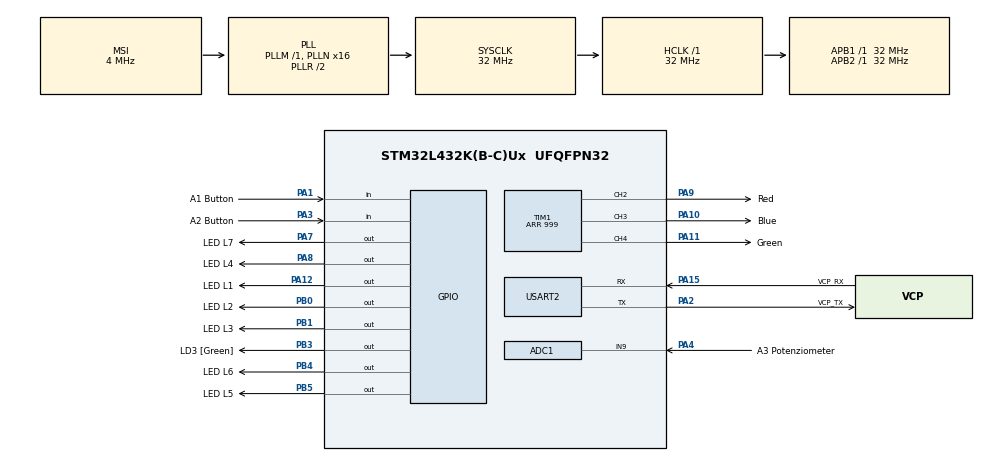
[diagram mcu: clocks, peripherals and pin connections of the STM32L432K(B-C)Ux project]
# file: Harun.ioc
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ADC1.Channel-1\#ChannelRegularConversion=ADC_CHANNEL_9
ADC1.NbrOfConversionFlag=1
ADC1.OffsetNumber-1\#ChannelRegularConversion=ADC_OFFSET_NONE
ADC1.Rank-1\#ChannelRegularConversion=1
ADC1.SamplingTime-1\#ChannelRegularConversion=ADC_SAMPLETIME_2CYCLES_5
ADC1.master=1
Mcu.Family=STM32L4
Mcu.Name=STM32L432K(B-C)Ux
Mcu.Package=UFQFPN32
NVIC.PriorityGroup=NVIC_PRIORITYGROUP_4
PA0.GPIO_Label=MCO [High speed clock in]
PA0.Mode=HSE-External-Clock-Source-for-LittleOrca
PA0.Signal=RCC_CK_IN
PA1.GPIO_Label=A1 Button
PA1.GPIO_PuPd=GPIO_NOPULL
PA1.Signal=GPIO_Input
PA10.GPIO_Label=Blue
PA10.Signal=S_TIM1_CH3
PA11.GPIO_Label=Green
PA11.Signal=S_TIM1_CH4
PA12.GPIO_Label=LED L1
PA12.PinState=GPIO_PIN_RESET
PA12.Signal=GPIO_Output
PA13\ (JTMS-SWDIO).GPIO_Label=SWDIO
PA13\ (JTMS-SWDIO).Mode=Serial_Wire
PA13\ (JTMS-SWDIO).Signal=SYS_JTMS-SWDIO
PA14\ (JTCK-SWCLK).GPIO_Label=SWCLK
PA14\ (JTCK-SWCLK).Mode=Serial_Wire
PA14\ (JTCK-SWCLK).Signal=SYS_JTCK-SWCLK
PA15\ (JTDI).GPIO_Label=VCP_RX
PA15\ (JTDI).Mode=Asynchronous
PA15\ (JTDI).Signal=USART2_RX
PA2.GPIO_Label=VCP_TX
PA2.Mode=Asynchronous
PA2.Signal=USART2_TX
PA3.GPIO_Label=A2 Button
PA3.Signal=GPIO_Input
PA4.GPIO_Label=A3 Potenziometer
PA4.Signal=ADCx_IN9
PA7.GPIO_Label=LED L7
PA7.PinState=GPIO_PIN_RESET
PA7.Signal=GPIO_Output
PA8.GPIO_Label=LED L4
PA8.Signal=GPIO_Output
PA9.GPIO_Label=Red
PA9.Signal=S_TIM1_CH2
PB0.GPIO_Label=LED L2
PB0.Signal=GPIO_Output
PB1.GPIO_Label=LED L3
PB1.PinState=GPIO_PIN_RESET
PB1.Signal=GPIO_Output
PB3\ (JTDO-TRACESWO).GPIO_Label=LD3 [Green]
PB3\ (JTDO-TRACESWO).PinState=GPIO_PIN_RESET
PB3\ (JTDO-TRACESWO).Signal=GPIO_Output
PB4\ (NJTRST).GPIO_Label=LED L6
PB4\ (NJTRST).Signal=GPIO_Output
PB5.GPIO_Label=LED L5
PB5.PinState=GPIO_PIN_RESET
PB5.Signal=GPIO_Output
PC14-OSC32_IN\ (PC14).Mode=LSE-External-Oscillator
PC14-OSC32_IN\ (PC14).Signal=RCC_OSC32_IN
PC15-OSC32_OUT\ (PC15).Mode=LSE-External-Oscillator
PC15-OSC32_OUT\ (PC15).Signal=RCC_OSC32_OUT
ProjectManager.HeapSize=0x200
ProjectManager.StackSize=0x400
ProjectManager.TargetToolchain=STM32CubeIDE
RCC.ADCFreq_Value=32000000
RCC.AHBFreq_Value=32000000
RCC.APB1Freq_Value=32000000
RCC.APB1TimFreq_Value=32000000
RCC.APB2Freq_Value=32000000
RCC.APB2TimFreq_Value=32000000
RCC.CortexFreq_Value=32000000
RCC.HCLKFreq_Value=32000000
RCC.HSE_VALUE=8000000
RCC.HSI16_VALUE=16000000
RCC.HSI48_VALUE=48000000
RCC.HSI_VALUE=16000000
RCC.MSI_VALUE=4000000
RCC.PLLMUL=RCC_PLLMUL_4
RCC.PLLN=16
RCC.PLLSAI1N=16
RCC.SYSCLKFreq_VALUE=32000000
RCC.SYSCLKSource=RCC_SYSCLKSOURCE_PLLCLK
RCC.USBFreq_Value=32000000
RCC.VCOOutputFreq_Value=64000000
SH.ADCx_IN9.0=ADC1_IN9,IN9-Single-Ended
SH.S_TIM1_CH2.0=TIM1_CH2,PWM Generation2 CH2
SH.S_TIM1_CH3.0=TIM1_CH3,PWM Generation3 CH3
SH.S_TIM1_CH4.0=TIM1_CH4,PWM Generation4 CH4
TIM1.Channel-PWM\ Generation2\ CH2=TIM_CHANNEL_2
TIM1.Channel-PWM\ Generation3\ CH3=TIM_CHANNEL_3
TIM1.Channel-PWM\ Generation4\ CH4=TIM_CHANNEL_4
TIM1.Period=999
USART2.VirtualMode-Asynchronous=VM_ASYNC
VP_TIM1_VS_ClockSourceINT.Mode=Internal
board=NUCLEO-L432KC

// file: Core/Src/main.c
/* USER CODE BEGIN Header */
/**
 ******************************************************************************
 * @file           : main.c
 * @brief          : Main program body
 ******************************************************************************
 * @attention
 *
 * Copyright (c) 2026 STMicroelectronics.
 * All rights reserved.
 *
 * This software is licensed under terms that can be found in the LICENSE file
 * in the root directory of this software component.
 * If no LICENSE file comes with this software, it is provided AS-IS.
 *
 ******************************************************************************
 */
/* USER CODE END Header */
#include "main.h"

/* USER CODE BEGIN Includes */

#include <stdio.h>
#include <stdarg.h>
#include <string.h>

/* USER CODE END Includes */

/* USER CODE BEGIN PD */

#define SET GPIO_PIN_SET
#define RESET GPIO_PIN_RESET
#define HAL_MAX_TIMEOUT 1000
#define true 1
#define false 0

/* USER CODE END PD */

ADC_HandleTypeDef hadc1;

TIM_HandleTypeDef htim1;

UART_HandleTypeDef huart2;

/* USER CODE BEGIN PV */

struct button
{
	int state;
	uint32_t change_timestamp;
	GPIO_TypeDef *port;
	uint16_t pin;
};

/* USER CODE END PV */

void SystemClock_Config(void);
static void MX_GPIO_Init(void);
static void MX_USART2_UART_Init(void);
static void MX_TIM1_Init(void);
static void MX_ADC1_Init(void);

/* USER CODE BEGIN 0 */

// Helpers
int print(const char *fmt, ...)
{
	char buffer[256];

	va_list args;
	va_start(args, fmt);
	int len = vsnprintf(buffer, sizeof(buffer), fmt, args);
	va_end(args);

	if (len < 0)
	{
		return len;
	}

	if (len > sizeof(buffer))
	{
		len = sizeof(buffer);
	}

	HAL_UART_Transmit(&huart2, (uint8_t *)buffer, len, HAL_MAX_DELAY);
	return len;
}

int bigger(int a, int b)
{
	return a > b ? a : b;
}

int smaller(int a, int b)
{
	return a < b ? a : b;
}

// LED Edits
void toggle_left_LEDs(int even)
{
	HAL_GPIO_WritePin(LED_L1_GPIO_Port, LED_L1_Pin, even ? SET : RESET);
	HAL_GPIO_WritePin(LED_L2_GPIO_Port, LED_L2_Pin, !even ? SET : RESET);
	HAL_GPIO_WritePin(LED_L3_GPIO_Port, LED_L3_Pin, even ? SET : RESET);
	HAL_GPIO_WritePin(LED_L4_GPIO_Port, LED_L4_Pin, !even ? SET : RESET);
	HAL_GPIO_WritePin(LED_L5_GPIO_Port, LED_L5_Pin, even ? SET : RESET);
	HAL_GPIO_WritePin(LED_L6_GPIO_Port, LED_L6_Pin, !even ? SET : RESET);
	HAL_GPIO_WritePin(LED_L7_GPIO_Port, LED_L7_Pin, even ? SET : RESET);
	HAL_GPIO_WritePin(LD3_GPIO_Port, LD3_Pin, !even ? SET : RESET);
}

void toggle_main_LED(int red, int green, int blue) // Percentages
{
	if (!red)
		HAL_TIM_PWM_Stop(&htim1, TIM_CHANNEL_2);
	else
		HAL_TIM_PWM_Start(&htim1, TIM_CHANNEL_2);

	if (!green)
		HAL_TIM_PWM_Stop(&htim1, TIM_CHANNEL_4);
	else
		HAL_TIM_PWM_Start(&htim1, TIM_CHANNEL_4);

	if (!blue)
		HAL_TIM_PWM_Stop(&htim1, TIM_CHANNEL_3);
	else
		HAL_TIM_PWM_Start(&htim1, TIM_CHANNEL_3);

	int period = 999;
	int one = (period / 100);
	int r = period - one * red;
	int g = period - one * green;
	int b = period - one * blue;

	__HAL_TIM_SET_COMPARE(&htim1, TIM_CHANNEL_2, r);
	__HAL_TIM_SET_COMPARE(&htim1, TIM_CHANNEL_4, g);
	__HAL_TIM_SET_COMPARE(&htim1, TIM_CHANNEL_3, b);
}

void debug_left_LEDs(int on)
{
	HAL_GPIO_WritePin(LED_L1_GPIO_Port, LED_L1_Pin, on ? SET : RESET);
	HAL_GPIO_WritePin(LED_L2_GPIO_Port, LED_L2_Pin, on ? SET : RESET);
	HAL_GPIO_WritePin(LED_L3_GPIO_Port, LED_L3_Pin, on ? SET : RESET);
	HAL_GPIO_WritePin(LED_L4_GPIO_Port, LED_L4_Pin, on ? SET : RESET);
	HAL_GPIO_WritePin(LED_L5_GPIO_Port, LED_L5_Pin, on ? SET : RESET);
	HAL_GPIO_WritePin(LED_L6_GPIO_Port, LED_L6_Pin, on ? SET : RESET);
	HAL_GPIO_WritePin(LED_L7_GPIO_Port, LED_L7_Pin, on ? SET : RESET);
	HAL_GPIO_WritePin(LD3_GPIO_Port, LD3_Pin, on ? SET : RESET);
}

// Button helpers
struct button addButton(
	GPIO_TypeDef *port,
	uint16_t pin)
{
	struct button btn;

	btn.state = 0;
	btn.change_timestamp = HAL_GetTick();
	btn.port = port;
	btn.pin = pin;

	return btn;
}

/**
 * Easier since intellisense gets this
 *
 * @returns
 * 	0 -> no click |
 * 	1 -> down |
 *  2 -> up |
 *  3 -> double click |
 */
int button_click_check(struct button *btn)
{ // 0 -> no click, 1 -> down; 2 -> up; 3 -> double click
	int state = !!(HAL_GPIO_ReadPin(btn->port, btn->pin) == RESET);
	if (state == btn->state)
		return 0;

	uint32_t current = HAL_GetTick();
	uint32_t difference = current - btn->change_timestamp;

	btn->state = state;
	btn->change_timestamp = HAL_GetTick();

	if (state == 1)
	{
		if (difference < 150)
			return 3;
		else
			return 1;
	}
	else
		return 2;
}

void default_disco_lights(int disco_lights_hard[][3], int *disco_lights_length)
{
	*disco_lights_length = 7;
	int dpl = 20; // Disco light percentage

	int t[][3] = {
		{0, 0, dpl},
		{0, dpl, 0},
		{0, dpl, dpl},
		{dpl, 0, 0},
		{dpl, 0, dpl},
		{dpl, dpl, 0},
		{dpl, dpl, dpl},
	};

	for (int i = 0; i < *disco_lights_length; i++)
	{
		for (int j = 0; j < 3; j++)
		{
			disco_lights_hard[i][j] = t[i][j];
		}
	}
}

void transition_disco_lights(int disco_lights_hard[][3], int *disco_lights_length, int speed)
{
	int index = 0;

	int max_w = 100 / speed;

	// Red -> Green
	for (int i = 0; i < max_w; i++)
	{
		disco_lights_hard[index][0] = max_w - i; // R
		disco_lights_hard[index][1] = i;		 // G
		disco_lights_hard[index][2] = 0;		 // B
		index++;
	}

	// Green -> Blue
	for (int i = 0; i < max_w; i++)
	{
		disco_lights_hard[index][0] = 0;		 // R
		disco_lights_hard[index][1] = max_w - i; // G
		disco_lights_hard[index][2] = i;		 // B
		index++;
	}

	// Blue -> Red
	for (int i = 0; i < max_w; i++)
	{
		disco_lights_hard[index][0] = i;		 // R
		disco_lights_hard[index][1] = 0;		 // G
		disco_lights_hard[index][2] = max_w - i; // B
		index++;
	}

	*disco_lights_length = index;
}

/* USER CODE END 0 */

int main(void)
{

	/* MCU Configuration--------------------------------------------------------*/

	/* Reset of all peripherals, Initializes the Flash interface and the Systick. */
	HAL_Init();

	/* Configure the system clock */
	SystemClock_Config();

	/* Initialize all configured peripherals */
	MX_GPIO_Init();
	MX_USART2_UART_Init();
	MX_TIM1_Init();
	MX_ADC1_Init();
	/* USER CODE BEGIN 2 */

	// Setters
	HAL_ADCEx_Calibration_Start(&hadc1, ADC_SINGLE_ENDED);
	const int disco_timeout = 100;
	int disco_speed = 1;
	int disco_lights_hard[256 * 3][3];
	int disco_lights_length = 0;
	default_disco_lights(disco_lights_hard, &disco_lights_length);
	uint32_t timestamp = HAL_GetTick();

	// Buttons
	struct button a1 = addButton(
		A1_Button_GPIO_Port,
		A1_Button_Pin);
	struct button a2 = addButton(
		A2_Button_GPIO_Port,
		A2_Button_Pin);

	// Disco
	int disco_rgb_mode = 0; // Count
	int disco_even = false;
	int on = true;
	int smooth_speed = 1;
	const int max_smooth_speed = 100;
	int smooth = false;

	/* USER CODE END 2 */

	/* Infinite loop */
	/* USER CODE BEGIN WHILE */
	while (1)
	{
		uint32_t current = HAL_GetTick();

		if ((current - timestamp) > (disco_timeout * disco_speed) && on)
		{
			timestamp = current;
			if (!smooth)
				toggle_left_LEDs(disco_even);
			else
				transition_disco_lights(disco_lights_hard, &disco_lights_length, smooth_speed);

			toggle_main_LED(
				disco_lights_hard[disco_rgb_mode][0],
				disco_lights_hard[disco_rgb_mode][1],
				disco_lights_hard[disco_rgb_mode][2]);
			disco_rgb_mode = (disco_rgb_mode + 1) % disco_lights_length;
			disco_even = !disco_even;
		}

		// ON / OFF
		int a1_clicked = button_click_check(&a1);
		if (a1_clicked == 1) // Off/On Disco mode
		{
			on = !on;
			debug_left_LEDs(0);
			toggle_main_LED(0, 0, 0);
			disco_speed = 1;
			if (on)
			{
				smooth = false;
				default_disco_lights(disco_lights_hard, &disco_lights_length);
			}
		}

		// Speed and Smooth color transition
		int a2_clicked = button_click_check(&a2);
		if (a2_clicked == 1)
		{
			default_disco_lights(disco_lights_hard, &disco_lights_length);
			smooth = false;
			on = true;
			disco_speed = (disco_speed % 4) + 1;
		}
		if (a2_clicked == 3)
		{
			debug_left_LEDs(0);
			smooth = true;
			disco_speed = 1;
		}

		// Speed for color transition
		if (smooth)
		{
			HAL_ADC_Start(&hadc1);
			if (HAL_ADC_PollForConversion(&hadc1, HAL_MAX_TIMEOUT) == HAL_OK)
			{
				uint32_t pot_value = HAL_ADC_GetValue(&hadc1);

				int percentage = (pot_value / 4095.0) * 100;
				smooth_speed = bigger(max_smooth_speed / 100 * percentage, 1);
			}
			HAL_ADC_Stop(&hadc1);
		}

		/* USER CODE END WHILE */

	}
}

void SystemClock_Config(void)
{
	RCC_OscInitTypeDef RCC_OscInitStruct = {0};
	RCC_ClkInitTypeDef RCC_ClkInitStruct = {0};

	/** Configure the main internal regulator output voltage
	 */
	if (HAL_PWREx_ControlVoltageScaling(PWR_REGULATOR_VOLTAGE_SCALE1) != HAL_OK)
	{
		Error_Handler();
	}

	/** Configure LSE Drive Capability
	 */
	HAL_PWR_EnableBkUpAccess();
	__HAL_RCC_LSEDRIVE_CONFIG(RCC_LSEDRIVE_LOW);

	/** Initializes the RCC Oscillators according to the specified parameters
	 * in the RCC_OscInitTypeDef structure.
	 */
	RCC_OscInitStruct.OscillatorType = RCC_OSCILLATORTYPE_LSE | RCC_OSCILLATORTYPE_MSI;
	RCC_OscInitStruct.LSEState = RCC_LSE_ON;
	RCC_OscInitStruct.MSIState = RCC_MSI_ON;
	RCC_OscInitStruct.MSICalibrationValue = 0;
	RCC_OscInitStruct.MSIClockRange = RCC_MSIRANGE_6;
	RCC_OscInitStruct.PLL.PLLState = RCC_PLL_ON;
	RCC_OscInitStruct.PLL.PLLSource = RCC_PLLSOURCE_MSI;
	RCC_OscInitStruct.PLL.PLLM = 1;
	RCC_OscInitStruct.PLL.PLLN = 16;
	RCC_OscInitStruct.PLL.PLLP = RCC_PLLP_DIV7;
	RCC_OscInitStruct.PLL.PLLQ = RCC_PLLQ_DIV2;
	RCC_OscInitStruct.PLL.PLLR = RCC_PLLR_DIV2;
	if (HAL_RCC_OscConfig(&RCC_OscInitStruct) != HAL_OK)
	{
		Error_Handler();
	}

	/** Initializes the CPU, AHB and APB buses clocks
	 */
	RCC_ClkInitStruct.ClockType = RCC_CLOCKTYPE_HCLK | RCC_CLOCKTYPE_SYSCLK | RCC_CLOCKTYPE_PCLK1 | RCC_CLOCKTYPE_PCLK2;
	RCC_ClkInitStruct.SYSCLKSource = RCC_SYSCLKSOURCE_PLLCLK;
	RCC_ClkInitStruct.AHBCLKDivider = RCC_SYSCLK_DIV1;
	RCC_ClkInitStruct.APB1CLKDivider = RCC_HCLK_DIV1;
	RCC_ClkInitStruct.APB2CLKDivider = RCC_HCLK_DIV1;

	if (HAL_RCC_ClockConfig(&RCC_ClkInitStruct, FLASH_LATENCY_1) != HAL_OK)
	{
		Error_Handler();
	}

	/** Enable MSI Auto calibration
	 */
	HAL_RCCEx_EnableMSIPLLMode();
}

static void MX_ADC1_Init(void)
{

	ADC_ChannelConfTypeDef sConfig = {0};

	/** Common config
	 */
	hadc1.Instance = ADC1;
	hadc1.Init.ClockPrescaler = ADC_CLOCK_ASYNC_DIV1;
	hadc1.Init.Resolution = ADC_RESOLUTION_12B;
	hadc1.Init.DataAlign = ADC_DATAALIGN_RIGHT;
	hadc1.Init.ScanConvMode = ADC_SCAN_DISABLE;
	hadc1.Init.EOCSelection = ADC_EOC_SINGLE_CONV;
	hadc1.Init.LowPowerAutoWait = DISABLE;
	hadc1.Init.ContinuousConvMode = DISABLE;
	hadc1.Init.NbrOfConversion = 1;
	hadc1.Init.DiscontinuousConvMode = DISABLE;
	hadc1.Init.ExternalTrigConv = ADC_SOFTWARE_START;
	hadc1.Init.ExternalTrigConvEdge = ADC_EXTERNALTRIGCONVEDGE_NONE;
	hadc1.Init.DMAContinuousRequests = DISABLE;
	hadc1.Init.Overrun = ADC_OVR_DATA_PRESERVED;
	hadc1.Init.OversamplingMode = DISABLE;
	if (HAL_ADC_Init(&hadc1) != HAL_OK)
	{
		Error_Handler();
	}

	/** Configure Regular Channel
	 */
	sConfig.Channel = ADC_CHANNEL_9;
	sConfig.Rank = ADC_REGULAR_RANK_1;
	sConfig.SamplingTime = ADC_SAMPLETIME_2CYCLES_5;
	sConfig.SingleDiff = ADC_SINGLE_ENDED;
	sConfig.OffsetNumber = ADC_OFFSET_NONE;
	sConfig.Offset = 0;
	if (HAL_ADC_ConfigChannel(&hadc1, &sConfig) != HAL_OK)
	{
		Error_Handler();
	}
}

static void MX_TIM1_Init(void)
{

	TIM_ClockConfigTypeDef sClockSourceConfig = {0};
	TIM_MasterConfigTypeDef sMasterConfig = {0};
	TIM_OC_InitTypeDef sConfigOC = {0};
	TIM_BreakDeadTimeConfigTypeDef sBreakDeadTimeConfig = {0};

	htim1.Instance = TIM1;
	htim1.Init.Prescaler = 0;
	htim1.Init.CounterMode = TIM_COUNTERMODE_UP;
	htim1.Init.Period = 999;
	htim1.Init.ClockDivision = TIM_CLOCKDIVISION_DIV1;
	htim1.Init.RepetitionCounter = 0;
	htim1.Init.AutoReloadPreload = TIM_AUTORELOAD_PRELOAD_DISABLE;
	if (HAL_TIM_Base_Init(&htim1) != HAL_OK)
	{
		Error_Handler();
	}
	sClockSourceConfig.ClockSource = TIM_CLOCKSOURCE_INTERNAL;
	if (HAL_TIM_ConfigClockSource(&htim1, &sClockSourceConfig) != HAL_OK)
	{
		Error_Handler();
	}
	if (HAL_TIM_PWM_Init(&htim1) != HAL_OK)
	{
		Error_Handler();
	}
	sMasterConfig.MasterOutputTrigger = TIM_TRGO_RESET;
	sMasterConfig.MasterOutputTrigger2 = TIM_TRGO2_RESET;
	sMasterConfig.MasterSlaveMode = TIM_MASTERSLAVEMODE_DISABLE;
	if (HAL_TIMEx_MasterConfigSynchronization(&htim1, &sMasterConfig) != HAL_OK)
	{
		Error_Handler();
	}
	sConfigOC.OCMode = TIM_OCMODE_PWM1;
	sConfigOC.Pulse = 0;
	sConfigOC.OCPolarity = TIM_OCPOLARITY_HIGH;
	sConfigOC.OCNPolarity = TIM_OCNPOLARITY_HIGH;
	sConfigOC.OCFastMode = TIM_OCFAST_DISABLE;
	sConfigOC.OCIdleState = TIM_OCIDLESTATE_RESET;
	sConfigOC.OCNIdleState = TIM_OCNIDLESTATE_RESET;
	if (HAL_TIM_PWM_ConfigChannel(&htim1, &sConfigOC, TIM_CHANNEL_2) != HAL_OK)
	{
		Error_Handler();
	}
	if (HAL_TIM_PWM_ConfigChannel(&htim1, &sConfigOC, TIM_CHANNEL_3) != HAL_OK)
	{
		Error_Handler();
	}
	if (HAL_TIM_PWM_ConfigChannel(&htim1, &sConfigOC, TIM_CHANNEL_4) != HAL_OK)
	{
		Error_Handler();
	}
	sBreakDeadTimeConfig.OffStateRunMode = TIM_OSSR_DISABLE;
	sBreakDeadTimeConfig.OffStateIDLEMode = TIM_OSSI_DISABLE;
	sBreakDeadTimeConfig.LockLevel = TIM_LOCKLEVEL_OFF;
	sBreakDeadTimeConfig.DeadTime = 0;
	sBreakDeadTimeConfig.BreakState = TIM_BREAK_DISABLE;
	sBreakDeadTimeConfig.BreakPolarity = TIM_BREAKPOLARITY_HIGH;
	sBreakDeadTimeConfig.BreakFilter = 0;
	sBreakDeadTimeConfig.Break2State = TIM_BREAK2_DISABLE;
	sBreakDeadTimeConfig.Break2Polarity = TIM_BREAK2POLARITY_HIGH;
	sBreakDeadTimeConfig.Break2Filter = 0;
	sBreakDeadTimeConfig.AutomaticOutput = TIM_AUTOMATICOUTPUT_DISABLE;
	if (HAL_TIMEx_ConfigBreakDeadTime(&htim1, &sBreakDeadTimeConfig) != HAL_OK)
	{
		Error_Handler();
	}
	HAL_TIM_MspPostInit(&htim1);
}

static void MX_USART2_UART_Init(void)
{

	huart2.Instance = USART2;
	huart2.Init.BaudRate = 115200;
	huart2.Init.WordLength = UART_WORDLENGTH_8B;
	huart2.Init.StopBits = UART_STOPBITS_1;
	huart2.Init.Parity = UART_PARITY_NONE;
	huart2.Init.Mode = UART_MODE_TX_RX;
	huart2.Init.HwFlowCtl = UART_HWCONTROL_NONE;
	huart2.Init.OverSampling = UART_OVERSAMPLING_16;
	huart2.Init.OneBitSampling = UART_ONE_BIT_SAMPLE_DISABLE;
	huart2.AdvancedInit.AdvFeatureInit = UART_ADVFEATURE_NO_INIT;
	if (HAL_UART_Init(&huart2) != HAL_OK)
	{
		Error_Handler();
	}
}

static void MX_GPIO_Init(void)
{
	GPIO_InitTypeDef GPIO_InitStruct = {0};

	/* GPIO Ports Clock Enable */
	__HAL_RCC_GPIOC_CLK_ENABLE();
	__HAL_RCC_GPIOA_CLK_ENABLE();
	__HAL_RCC_GPIOB_CLK_ENABLE();

	/*Configure GPIO pin Output Level */
	HAL_GPIO_WritePin(GPIOA, LED_L7_Pin | LED_L4_Pin | LED_L1_Pin, GPIO_PIN_RESET);

	/*Configure GPIO pin Output Level */
	HAL_GPIO_WritePin(GPIOB, LED_L2_Pin | LED_L3_Pin | LD3_Pin | LED_L6_Pin | LED_L5_Pin, GPIO_PIN_RESET);

	/*Configure GPIO pins : A1_Button_Pin A2_Button_Pin */
	GPIO_InitStruct.Pin = A1_Button_Pin | A2_Button_Pin;
	GPIO_InitStruct.Mode = GPIO_MODE_INPUT;
	GPIO_InitStruct.Pull = GPIO_NOPULL;
	HAL_GPIO_Init(GPIOA, &GPIO_InitStruct);

	/*Configure GPIO pins : LED_L7_Pin LED_L4_Pin LED_L1_Pin */
	GPIO_InitStruct.Pin = LED_L7_Pin | LED_L4_Pin | LED_L1_Pin;
	GPIO_InitStruct.Mode = GPIO_MODE_OUTPUT_PP;
	GPIO_InitStruct.Pull = GPIO_NOPULL;
	GPIO_InitStruct.Speed = GPIO_SPEED_FREQ_LOW;
	HAL_GPIO_Init(GPIOA, &GPIO_InitStruct);

	/*Configure GPIO pins : LED_L2_Pin LED_L3_Pin LD3_Pin LED_L6_Pin
							 LED_L5_Pin */
	GPIO_InitStruct.Pin = LED_L2_Pin | LED_L3_Pin | LD3_Pin | LED_L6_Pin | LED_L5_Pin;
	GPIO_InitStruct.Mode = GPIO_MODE_OUTPUT_PP;
	GPIO_InitStruct.Pull = GPIO_NOPULL;
	GPIO_InitStruct.Speed = GPIO_SPEED_FREQ_LOW;
	HAL_GPIO_Init(GPIOB, &GPIO_InitStruct);

}

void Error_Handler(void)
{
	__disable_irq();
	while (1)
	{
	}
}
